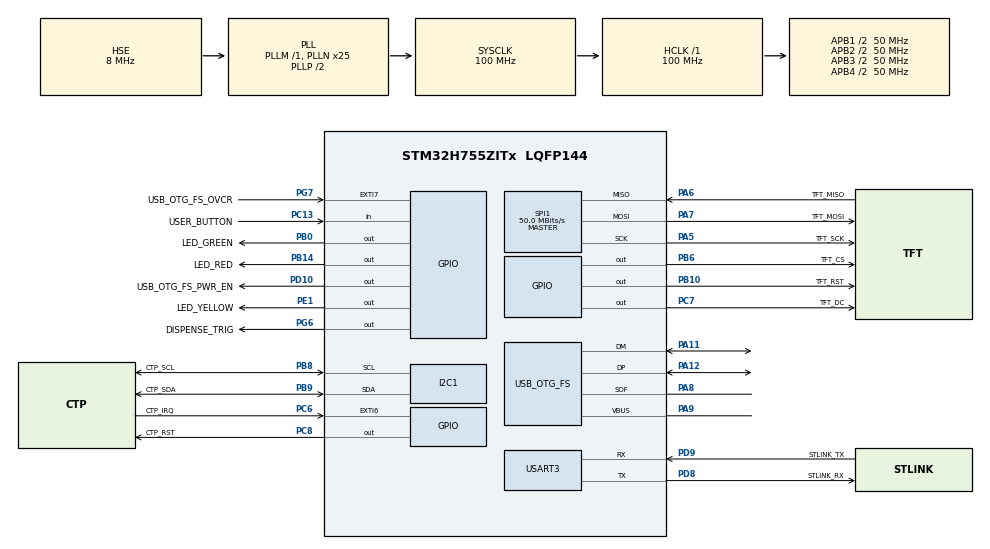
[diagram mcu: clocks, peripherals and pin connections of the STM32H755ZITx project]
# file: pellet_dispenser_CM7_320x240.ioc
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CORTEX_M7.CPU_ICache=Disabled
CortexM4.IPs=FATFS_M4\:I,FREERTOS_M4\:I,IWDG2\:I,RCC,WWDG2\:I,DMA,BDMA,MDMA,NVIC2\:I,ETH,USART3,DEBUG,USB_DEVICE_M4\:I,USB_HOST_M4\:I,PDM2PCM_M4\:I,PWR,RESMGR_UTILITY,SYS_M4\:I,CORTEX_M4\:I,OPENAMP_M4\:I,VREFBUF,GPIO
CortexM7.IPs=FATFS_M7\:I,FREERTOS_M7\:I,IWDG1\:I,RCC\:I,WWDG1\:I,DMA\:I,BDMA\:I,MDMA\:I,NVIC1\:I,ETH\:I,USART3\:I,USB_OTG_FS\:I,SYS\:I,CORTEX_M7\:I,DEBUG\:I,USB_DEVICE_M7\:I,USB_HOST_M7\:I,PDM2PCM_M7\:I,PWR\:I,RESMGR_UTILITY\:I,OPENAMP_M7\:I,VREFBUF\:I,GPIO\:I,SPI1\:I,I2C1\:I,CRC\:I,STMicroelectronics.X-CUBE-TOUCHGFX.4.22.1_M7\:I,TIM2\:I
CortexM7.Pins=PC13,PB0,PB10,PB14,PD10,PG6,PG7,PC6,PC7,PC8,PB6,PE1
Dma.Request0=SPI1_TX
Dma.SPI1_TX.0.Direction=DMA_MEMORY_TO_PERIPH
Dma.SPI1_TX.0.EventEnable=DISABLE
Dma.SPI1_TX.0.FIFOMode=DMA_FIFOMODE_ENABLE
Dma.SPI1_TX.0.FIFOThreshold=DMA_FIFO_THRESHOLD_FULL
Dma.SPI1_TX.0.Instance=DMA1_Stream0
Dma.SPI1_TX.0.MemBurst=DMA_MBURST_SINGLE
Dma.SPI1_TX.0.MemDataAlignment=DMA_MDATAALIGN_HALFWORD
Dma.SPI1_TX.0.MemInc=DMA_MINC_ENABLE
Dma.SPI1_TX.0.Mode=DMA_NORMAL
Dma.SPI1_TX.0.PeriphBurst=DMA_PBURST_SINGLE
Dma.SPI1_TX.0.PeriphDataAlignment=DMA_PDATAALIGN_HALFWORD
Dma.SPI1_TX.0.PeriphInc=DMA_PINC_DISABLE
Dma.SPI1_TX.0.Polarity=HAL_DMAMUX_REQ_GEN_RISING
Dma.SPI1_TX.0.Priority=DMA_PRIORITY_VERY_HIGH
Dma.SPI1_TX.0.RequestNumber=1
Dma.SPI1_TX.0.SignalID=NONE
Dma.SPI1_TX.0.SyncEnable=DISABLE
Dma.SPI1_TX.0.SyncPolarity=HAL_DMAMUX_SYNC_NO_EVENT
Dma.SPI1_TX.0.SyncRequestNumber=1
Dma.SPI1_TX.0.SyncSignalID=NONE
I2C1.Timing=0x00C0EAFF
Mcu.Family=STM32H7
Mcu.Name=STM32H755ZITx
Mcu.Package=LQFP144
NVIC1.DMA1_Stream0_IRQn=true\:2\:0\:true\:false\:true\:false\:true\:true
NVIC1.EXTI9_5_IRQn=true\:15\:0\:true\:false\:true\:true\:true\:true
NVIC1.PriorityGroup=NVIC_PRIORITYGROUP_4
NVIC1.SPI1_IRQn=true\:1\:0\:true\:false\:true\:false\:true\:true
NVIC1.TIM2_IRQn=true\:3\:0\:true\:false\:true\:true\:true\:true
NVIC2.PriorityGroup=NVIC_PRIORITYGROUP_4
PA11.Mode=Device_Only
PA11.PinAttribute=CortexM7
PA11.Signal=USB_OTG_FS_DM
PA12.Mode=Device_Only
PA12.PinAttribute=CortexM7
PA12.Signal=USB_OTG_FS_DP
PA13\ (JTMS/SWDIO).Mode=JTAG_5_pins
PA13\ (JTMS/SWDIO).PinAttribute=CortexM7
PA13\ (JTMS/SWDIO).Signal=DEBUG_JTMS-SWDIO
PA14\ (JTCK/SWCLK).Mode=JTAG_5_pins
PA14\ (JTCK/SWCLK).PinAttribute=CortexM7
PA14\ (JTCK/SWCLK).Signal=DEBUG_JTCK-SWCLK
PA15\ (JTDI).Mode=JTAG_5_pins
PA15\ (JTDI).PinAttribute=CortexM7
PA15\ (JTDI).Signal=DEBUG_JTDI
PA5.GPIO_Label=TFT_SCK
PA5.GPIO_PuPd=GPIO_PULLDOWN
PA5.GPIO_Speed=GPIO_SPEED_FREQ_VERY_HIGH
PA5.Mode=Full_Duplex_Master
PA5.PinAttribute=CortexM7
PA5.Signal=SPI1_SCK
PA6.GPIO_Label=TFT_MISO
PA6.GPIO_Speed=GPIO_SPEED_FREQ_VERY_HIGH
PA6.Mode=Full_Duplex_Master
PA6.PinAttribute=CortexM7
PA6.Signal=SPI1_MISO
PA7.GPIO_Label=TFT_MOSI
PA7.GPIO_PuPd=GPIO_PULLDOWN
PA7.GPIO_Speed=GPIO_SPEED_FREQ_VERY_HIGH
PA7.Mode=Full_Duplex_Master
PA7.PinAttribute=CortexM7
PA7.Signal=SPI1_MOSI
PA8.Mode=Activate_SOF_FS
PA8.PinAttribute=CortexM7
PA8.Signal=USB_OTG_FS_SOF
PA9.Mode=Activate_VBUS
PA9.PinAttribute=CortexM7
PA9.Signal=USB_OTG_FS_VBUS
PB0.GPIO_Label=LED_GREEN
PB0.PinAttribute=CortexM7
PB0.Signal=GPIO_Output
PB10.GPIO_Label=TFT_RST
PB10.GPIO_PuPd=GPIO_PULLUP
PB10.PinAttribute=CortexM7
PB10.PinState=GPIO_PIN_SET
PB10.Signal=GPIO_Output
PB14.GPIO_Label=LED_RED
PB14.PinAttribute=CortexM7
PB14.Signal=GPIO_Output
PB3\ (JTDO/TRACESWO).Mode=JTAG_5_pins
PB3\ (JTDO/TRACESWO).PinAttribute=CortexM7
PB3\ (JTDO/TRACESWO).Signal=DEBUG_JTDO-SWO
PB4\ (NJTRST).Mode=JTAG_5_pins
PB4\ (NJTRST).PinAttribute=CortexM7
PB4\ (NJTRST).Signal=DEBUG_JTRST
PB6.GPIO_Label=TFT_CS
PB6.GPIO_PuPd=GPIO_PULLUP
PB6.GPIO_Speed=GPIO_SPEED_FREQ_VERY_HIGH
PB6.PinAttribute=CortexM7
PB6.PinState=GPIO_PIN_SET
PB6.Signal=GPIO_Output
PB8.GPIO_Label=CTP_SCL
PB8.Mode=I2C
PB8.PinAttribute=CortexM7
PB8.Signal=I2C1_SCL
PB9.GPIO_Label=CTP_SDA
PB9.Mode=I2C
PB9.PinAttribute=CortexM7
PB9.Signal=I2C1_SDA
PC13.GPIO_Label=USER_BUTTON
PC13.PinAttribute=CortexM7
PC13.Signal=GPIO_Input
PC14-OSC32_IN\ (OSC32_IN).Mode=LSE-External-Oscillator
PC14-OSC32_IN\ (OSC32_IN).PinAttribute=Free
PC14-OSC32_IN\ (OSC32_IN).Signal=RCC_OSC32_IN
PC15-OSC32_OUT\ (OSC32_OUT).Mode=LSE-External-Oscillator
PC15-OSC32_OUT\ (OSC32_OUT).PinAttribute=Free
PC15-OSC32_OUT\ (OSC32_OUT).Signal=RCC_OSC32_OUT
PC6.GPIO_Label=CTP_IRQ
PC6.GPIO_ModeDefaultEXTI=GPIO_MODE_IT_FALLING
PC6.GPIO_PuPd=GPIO_PULLUP
PC6.PinAttribute=CortexM7
PC6.Signal=GPXTI6
PC7.GPIO_Label=TFT_DC
PC7.GPIO_PuPd=GPIO_PULLUP
PC7.GPIO_Speed=GPIO_SPEED_FREQ_VERY_HIGH
PC7.PinAttribute=CortexM7
PC7.PinState=GPIO_PIN_SET
PC7.Signal=GPIO_Output
PC8.GPIO_Label=CTP_RST
PC8.GPIO_PuPd=GPIO_PULLUP
PC8.PinAttribute=CortexM7
PC8.PinState=GPIO_PIN_SET
PC8.Signal=GPIO_Output
PD10.GPIO_Label=USB_OTG_FS_PWR_EN
PD10.PinAttribute=CortexM7
PD10.Signal=GPIO_Output
PD8.GPIO_Label=STLINK_RX
PD8.Mode=Asynchronous
PD8.PinAttribute=CortexM7
PD8.Signal=USART3_TX
PD9.GPIO_Label=STLINK_TX
PD9.Mode=Asynchronous
PD9.PinAttribute=CortexM7
PD9.Signal=USART3_RX
PE1.GPIO_Label=LED_YELLOW
PE1.PinAttribute=CortexM7
PE1.Signal=GPIO_Output
PG6.GPIO_Label=DISPENSE_TRIG
PG6.GPIO_ModeDefaultOutputPP=GPIO_MODE_OUTPUT_PP
PG6.GPIO_PuPd=GPIO_PULLUP
PG6.PinAttribute=CortexM7
PG6.PinState=GPIO_PIN_SET
PG6.Signal=GPIO_Output
PG7.GPIO_Label=USB_OTG_FS_OVCR
PG7.PinAttribute=CortexM7
PG7.Signal=GPXTI7
PH0-OSC_IN\ (PH0).Mode=HSE-External-Oscillator
PH0-OSC_IN\ (PH0).PinAttribute=Free
PH0-OSC_IN\ (PH0).Signal=RCC_OSC_IN
PH1-OSC_OUT\ (PH1).Mode=HSE-External-Oscillator
PH1-OSC_OUT\ (PH1).PinAttribute=Free
PH1-OSC_OUT\ (PH1).Signal=RCC_OSC_OUT
ProjectManager.HeapSize=M4-0x2000,M7-0x8000
ProjectManager.StackSize=M4-0x4000,M7-0x8000
ProjectManager.TargetToolchain=MDK-ARM V5.32
RCC.ADCFreq_Value=75000000
RCC.APB1Freq_Value=50000000
RCC.APB2Freq_Value=50000000
RCC.APB3Freq_Value=50000000
RCC.APB4Freq_Value=50000000
RCC.CortexFreq_Value=100000000
RCC.D1PPRE=RCC_APB3_DIV2
RCC.D2PPRE1=RCC_APB1_DIV2
RCC.D2PPRE2=RCC_APB2_DIV2
RCC.D3PPRE=RCC_APB4_DIV2
RCC.DIVM1=1
RCC.DIVM2=1
RCC.DIVM3=1
RCC.DIVN1=25
RCC.DIVN2=18
RCC.DIVN3=18
RCC.DIVQ2=3
RCC.DIVQ3=3
RCC.DIVR3=3
RCC.HCLKFreq_Value=100000000
RCC.HSE_VALUE=8000000
RCC.I2C123CLockSelection=RCC_I2C123CLKSOURCE_PLL3
RCC.PLL2FRACN=6144
RCC.PLL3FRACN=6144
RCC.PLLFRACN=0
RCC.SYSCLKFreq_VALUE=100000000
RCC.SYSCLKSource=RCC_SYSCLKSOURCE_PLLCLK
RCC.USART234578CLockSelection=RCC_USART234578CLKSOURCE_PLL2
RCC.USBCLockSelection=RCC_USBCLKSOURCE_PLL3
RCC.USBFreq_Value=50000000
SPI1.BaudRatePrescaler=SPI_BAUDRATEPRESCALER_2
SPI1.CalculateBaudRate=50.0 MBits/s
SPI1.DataSize=SPI_DATASIZE_8BIT
SPI1.Direction=SPI_DIRECTION_2LINES
SPI1.FirstBit=SPI_FIRSTBIT_MSB
SPI1.Mode=SPI_MODE_MASTER
SPI1.NSSPMode=SPI_NSS_PULSE_DISABLE
SPI1.VirtualType=VM_MASTER
STMicroelectronics.X-CUBE-TOUCHGFX.4.22.1_IsPackSelfContextualization=true
STMicroelectronics.X-CUBE-TOUCHGFX.4.22.1_M7.ApplicationCcGraphicsJjApplication=TouchGFXOoGenerator
STMicroelectronics.X-CUBE-TOUCHGFX.4.22.1_M7.tgfx_block_size=12800
STMicroelectronics.X-CUBE-TOUCHGFX.4.22.1_M7.tgfx_buffering_strategy=Partial
STMicroelectronics.X-CUBE-TOUCHGFX.4.22.1_M7.tgfx_custom_height=240
STMicroelectronics.X-CUBE-TOUCHGFX.4.22.1_M7.tgfx_custom_width=320
STMicroelectronics.X-CUBE-TOUCHGFX.4.22.1_M7.tgfx_hardware_accelerator=dma_none
STMicroelectronics.X-CUBE-TOUCHGFX.4.22.1_M7.tgfx_number_of_blocks=4
STMicroelectronics.X-CUBE-TOUCHGFX.4.22.1_M7.tgfx_partialfb_transmit_strategy=Disabled
STMicroelectronics.X-CUBE-TOUCHGFX.4.22.1_M7.tgfx_vector_rendering=Disabled
TIM2.Period=20000-1
TIM2.Prescaler=100-1
USART3.VirtualMode-Asynchronous=VM_ASYNC
USB_OTG_FS.VirtualMode=Device_Only
VP_CRC_VS_CRC.Mode=CRC_Activate
VP_STMicroelectronics.X-CUBE-TOUCHGFX_M7_VS_GraphicsJjApplication_4.22.1.Mode=GraphicsJjApplication
VP_SYS_M4_VS_Systick.Mode=SysTick
VP_TIM2_VS_ClockSourceINT.Mode=Internal
board=NUCLEO-H755ZI-Q

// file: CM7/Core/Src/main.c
/* USER CODE BEGIN Header */
/**
 ******************************************************************************
 * @file           : main.c
 * @brief          : Main program body
 ******************************************************************************
 * @attention
 *
 * Copyright (c) 2024 STMicroelectronics.
 * All rights reserved.
 *
 * This software is licensed under terms that can be found in the LICENSE file
 * in the root directory of this software component.
 * If no LICENSE file comes with this software, it is provided AS-IS.
 *
 ******************************************************************************
 */
/* USER CODE END Header */
#include "main.h"
#include "app_touchgfx.h"

/* USER CODE BEGIN Includes */

#include "st7789.h"
#include "cst328.h"

/* USER CODE END Includes */

/* USER CODE BEGIN PD */

#ifndef HSEM_ID_0
#define HSEM_ID_0 (0U) /* HW semaphore 0*/
#endif

/* USER CODE END PD */

CRC_HandleTypeDef hcrc;

I2C_HandleTypeDef hi2c1;

SPI_HandleTypeDef hspi1;
DMA_HandleTypeDef hdma_spi1_tx;

TIM_HandleTypeDef htim2;

UART_HandleTypeDef huart3;

PCD_HandleTypeDef hpcd_USB_OTG_FS;

/* USER CODE BEGIN PV */
extern uint8_t isTransmittingData;
static uint32_t dwtPrevCyccnt = 0UL;      /* Store the previous cycle count */
static uint32_t dwtElapsedUsOffset = 0UL; /* Store the elapsed time offset */
/* USER CODE END PV */

void SystemClock_Config(void);
void PeriphCommonClock_Config(void);
static void MX_GPIO_Init(void);
static void MX_DMA_Init(void);
static void MX_USART3_UART_Init(void);
static void MX_USB_OTG_FS_PCD_Init(void);
static void MX_SPI1_Init(void);
static void MX_CRC_Init(void);
static void MX_I2C1_Init(void);
static void MX_TIM2_Init(void);
/* USER CODE BEGIN PFP */
extern void touchgfxSignalVSync(void);
/* USER CODE END PFP */

int main(void)
{
  /* USER CODE BEGIN Boot_Mode_Sequence_0 */
  int32_t timeout;
  /* USER CODE END Boot_Mode_Sequence_0 */

  /* USER CODE BEGIN Boot_Mode_Sequence_1 */
  /* Wait until CPU2 boots and enters in stop mode or timeout*/
  timeout = 0xFFFF;
  while ((__HAL_RCC_GET_FLAG(RCC_FLAG_D2CKRDY) != RESET) && (timeout-- > 0))
    ;
  if (timeout < 0)
  {
    Error_Handler();
  }
  /* USER CODE END Boot_Mode_Sequence_1 */
  /* MCU Configuration--------------------------------------------------------*/

  /* Reset of all peripherals, Initializes the Flash interface and the Systick. */
  HAL_Init();

  /* Configure the system clock */
  SystemClock_Config();

  /* Configure the peripherals common clocks */
  PeriphCommonClock_Config();
  /* USER CODE BEGIN Boot_Mode_Sequence_2 */
  /* When system initialization is finished, Cortex-M7 will release Cortex-M4 by means of
  HSEM notification */
  /*HW semaphore Clock enable*/
  __HAL_RCC_HSEM_CLK_ENABLE();
  /*Take HSEM */
  HAL_HSEM_FastTake(HSEM_ID_0);
  /*Release HSEM in order to notify the CPU2(CM4)*/
  HAL_HSEM_Release(HSEM_ID_0, 0);
  /* wait until CPU2 wakes up from stop mode */
  timeout = 0xFFFF;
  while ((__HAL_RCC_GET_FLAG(RCC_FLAG_D2CKRDY) == RESET) && (timeout-- > 0))
    ;
  if (timeout < 0)
  {
    Error_Handler();
  }
  /* USER CODE END Boot_Mode_Sequence_2 */

  /* Initialize all configured peripherals */
  MX_GPIO_Init();
  MX_DMA_Init();
  MX_USART3_UART_Init();
  MX_USB_OTG_FS_PCD_Init();
  MX_SPI1_Init();
  MX_CRC_Init();
  MX_I2C1_Init();
  MX_TIM2_Init();
  MX_TouchGFX_Init();
  /* USER CODE BEGIN 2 */
  HAL_TIM_Base_Start_IT(&htim2); /* Start TIM2 */

  DWT_Init();
  ST7789_Init();
  CST328_Init();

  /* USER CODE END 2 */

  /* Infinite loop */
  while (1)
  {

    MX_TouchGFX_Process();
  }
}

void SystemClock_Config(void)
{
  RCC_OscInitTypeDef RCC_OscInitStruct = {0};
  RCC_ClkInitTypeDef RCC_ClkInitStruct = {0};

  /** Supply configuration update enable
   */
  HAL_PWREx_ConfigSupply(PWR_DIRECT_SMPS_SUPPLY);

  /** Configure the main internal regulator output voltage
   */
  __HAL_PWR_VOLTAGESCALING_CONFIG(PWR_REGULATOR_VOLTAGE_SCALE3);

  while (!__HAL_PWR_GET_FLAG(PWR_FLAG_VOSRDY))
  {
  }

  /** Initializes the RCC Oscillators according to the specified parameters
   * in the RCC_OscInitTypeDef structure.
   */
  RCC_OscInitStruct.OscillatorType = RCC_OSCILLATORTYPE_HSE;
  RCC_OscInitStruct.HSEState = RCC_HSE_ON;
  RCC_OscInitStruct.PLL.PLLState = RCC_PLL_ON;
  RCC_OscInitStruct.PLL.PLLSource = RCC_PLLSOURCE_HSE;
  RCC_OscInitStruct.PLL.PLLM = 1;
  RCC_OscInitStruct.PLL.PLLN = 25;
  RCC_OscInitStruct.PLL.PLLP = 2;
  RCC_OscInitStruct.PLL.PLLQ = 2;
  RCC_OscInitStruct.PLL.PLLR = 2;
  RCC_OscInitStruct.PLL.PLLRGE = RCC_PLL1VCIRANGE_3;
  RCC_OscInitStruct.PLL.PLLVCOSEL = RCC_PLL1VCOWIDE;
  RCC_OscInitStruct.PLL.PLLFRACN = 0;
  if (HAL_RCC_OscConfig(&RCC_OscInitStruct) != HAL_OK)
  {
    Error_Handler();
  }

  /** Initializes the CPU, AHB and APB buses clocks
   */
  RCC_ClkInitStruct.ClockType = RCC_CLOCKTYPE_HCLK | RCC_CLOCKTYPE_SYSCLK | RCC_CLOCKTYPE_PCLK1 | RCC_CLOCKTYPE_PCLK2 | RCC_CLOCKTYPE_D3PCLK1 | RCC_CLOCKTYPE_D1PCLK1;
  RCC_ClkInitStruct.SYSCLKSource = RCC_SYSCLKSOURCE_PLLCLK;
  RCC_ClkInitStruct.SYSCLKDivider = RCC_SYSCLK_DIV1;
  RCC_ClkInitStruct.AHBCLKDivider = RCC_HCLK_DIV1;
  RCC_ClkInitStruct.APB3CLKDivider = RCC_APB3_DIV2;
  RCC_ClkInitStruct.APB1CLKDivider = RCC_APB1_DIV2;
  RCC_ClkInitStruct.APB2CLKDivider = RCC_APB2_DIV2;
  RCC_ClkInitStruct.APB4CLKDivider = RCC_APB4_DIV2;

  if (HAL_RCC_ClockConfig(&RCC_ClkInitStruct, FLASH_LATENCY_2) != HAL_OK)
  {
    Error_Handler();
  }
}

void PeriphCommonClock_Config(void)
{
  RCC_PeriphCLKInitTypeDef PeriphClkInitStruct = {0};

  /** Initializes the peripherals clock
   */
  PeriphClkInitStruct.PeriphClockSelection = RCC_PERIPHCLK_USB | RCC_PERIPHCLK_I2C1;
  PeriphClkInitStruct.PLL3.PLL3M = 1;
  PeriphClkInitStruct.PLL3.PLL3N = 18;
  PeriphClkInitStruct.PLL3.PLL3P = 2;
  PeriphClkInitStruct.PLL3.PLL3Q = 3;
  PeriphClkInitStruct.PLL3.PLL3R = 3;
  PeriphClkInitStruct.PLL3.PLL3RGE = RCC_PLL3VCIRANGE_3;
  PeriphClkInitStruct.PLL3.PLL3VCOSEL = RCC_PLL3VCOMEDIUM;
  PeriphClkInitStruct.PLL3.PLL3FRACN = 6144;
  PeriphClkInitStruct.I2c123ClockSelection = RCC_I2C123CLKSOURCE_PLL3;
  PeriphClkInitStruct.UsbClockSelection = RCC_USBCLKSOURCE_PLL3;
  if (HAL_RCCEx_PeriphCLKConfig(&PeriphClkInitStruct) != HAL_OK)
  {
    Error_Handler();
  }
}

static void MX_CRC_Init(void)
{

  hcrc.Instance = CRC;
  hcrc.Init.DefaultPolynomialUse = DEFAULT_POLYNOMIAL_ENABLE;
  hcrc.Init.DefaultInitValueUse = DEFAULT_INIT_VALUE_ENABLE;
  hcrc.Init.InputDataInversionMode = CRC_INPUTDATA_INVERSION_NONE;
  hcrc.Init.OutputDataInversionMode = CRC_OUTPUTDATA_INVERSION_DISABLE;
  hcrc.InputDataFormat = CRC_INPUTDATA_FORMAT_BYTES;
  if (HAL_CRC_Init(&hcrc) != HAL_OK)
  {
    Error_Handler();
  }
}

static void MX_I2C1_Init(void)
{

  hi2c1.Instance = I2C1;
  hi2c1.Init.Timing = 0x00C0EAFF;
  hi2c1.Init.OwnAddress1 = 0;
  hi2c1.Init.AddressingMode = I2C_ADDRESSINGMODE_7BIT;
  hi2c1.Init.DualAddressMode = I2C_DUALADDRESS_DISABLE;
  hi2c1.Init.OwnAddress2 = 0;
  hi2c1.Init.OwnAddress2Masks = I2C_OA2_NOMASK;
  hi2c1.Init.GeneralCallMode = I2C_GENERALCALL_DISABLE;
  hi2c1.Init.NoStretchMode = I2C_NOSTRETCH_DISABLE;
  if (HAL_I2C_Init(&hi2c1) != HAL_OK)
  {
    Error_Handler();
  }

  /** Configure Analogue filter
   */
  if (HAL_I2CEx_ConfigAnalogFilter(&hi2c1, I2C_ANALOGFILTER_ENABLE) != HAL_OK)
  {
    Error_Handler();
  }

  /** Configure Digital filter
   */
  if (HAL_I2CEx_ConfigDigitalFilter(&hi2c1, 0) != HAL_OK)
  {
    Error_Handler();
  }
}

static void MX_SPI1_Init(void)
{

  /* SPI1 parameter configuration*/
  hspi1.Instance = SPI1;
  hspi1.Init.Mode = SPI_MODE_MASTER;
  hspi1.Init.Direction = SPI_DIRECTION_2LINES;
  hspi1.Init.DataSize = SPI_DATASIZE_8BIT;
  hspi1.Init.CLKPolarity = SPI_POLARITY_LOW;
  hspi1.Init.CLKPhase = SPI_PHASE_1EDGE;
  hspi1.Init.NSS = SPI_NSS_SOFT;
  hspi1.Init.BaudRatePrescaler = SPI_BAUDRATEPRESCALER_2;
  hspi1.Init.FirstBit = SPI_FIRSTBIT_MSB;
  hspi1.Init.TIMode = SPI_TIMODE_DISABLE;
  hspi1.Init.CRCCalculation = SPI_CRCCALCULATION_DISABLE;
  hspi1.Init.CRCPolynomial = 0x0;
  hspi1.Init.NSSPMode = SPI_NSS_PULSE_DISABLE;
  hspi1.Init.NSSPolarity = SPI_NSS_POLARITY_LOW;
  hspi1.Init.FifoThreshold = SPI_FIFO_THRESHOLD_01DATA;
  hspi1.Init.TxCRCInitializationPattern = SPI_CRC_INITIALIZATION_ALL_ZERO_PATTERN;
  hspi1.Init.RxCRCInitializationPattern = SPI_CRC_INITIALIZATION_ALL_ZERO_PATTERN;
  hspi1.Init.MasterSSIdleness = SPI_MASTER_SS_IDLENESS_00CYCLE;
  hspi1.Init.MasterInterDataIdleness = SPI_MASTER_INTERDATA_IDLENESS_00CYCLE;
  hspi1.Init.MasterReceiverAutoSusp = SPI_MASTER_RX_AUTOSUSP_DISABLE;
  hspi1.Init.MasterKeepIOState = SPI_MASTER_KEEP_IO_STATE_DISABLE;
  hspi1.Init.IOSwap = SPI_IO_SWAP_DISABLE;
  if (HAL_SPI_Init(&hspi1) != HAL_OK)
  {
    Error_Handler();
  }
}

static void MX_TIM2_Init(void)
{

  TIM_ClockConfigTypeDef sClockSourceConfig = {0};
  TIM_MasterConfigTypeDef sMasterConfig = {0};

  htim2.Instance = TIM2;
  htim2.Init.Prescaler = 100 - 1;
  htim2.Init.CounterMode = TIM_COUNTERMODE_UP;
  htim2.Init.Period = 20000 - 1;
  htim2.Init.ClockDivision = TIM_CLOCKDIVISION_DIV1;
  htim2.Init.AutoReloadPreload = TIM_AUTORELOAD_PRELOAD_DISABLE;
  if (HAL_TIM_Base_Init(&htim2) != HAL_OK)
  {
    Error_Handler();
  }
  sClockSourceConfig.ClockSource = TIM_CLOCKSOURCE_INTERNAL;
  if (HAL_TIM_ConfigClockSource(&htim2, &sClockSourceConfig) != HAL_OK)
  {
    Error_Handler();
  }
  sMasterConfig.MasterOutputTrigger = TIM_TRGO_RESET;
  sMasterConfig.MasterSlaveMode = TIM_MASTERSLAVEMODE_DISABLE;
  if (HAL_TIMEx_MasterConfigSynchronization(&htim2, &sMasterConfig) != HAL_OK)
  {
    Error_Handler();
  }
}

static void MX_USART3_UART_Init(void)
{

  huart3.Instance = USART3;
  huart3.Init.BaudRate = 115200;
  huart3.Init.WordLength = UART_WORDLENGTH_8B;
  huart3.Init.StopBits = UART_STOPBITS_1;
  huart3.Init.Parity = UART_PARITY_NONE;
  huart3.Init.Mode = UART_MODE_TX_RX;
  huart3.Init.HwFlowCtl = UART_HWCONTROL_NONE;
  huart3.Init.OverSampling = UART_OVERSAMPLING_16;
  huart3.Init.OneBitSampling = UART_ONE_BIT_SAMPLE_DISABLE;
  huart3.Init.ClockPrescaler = UART_PRESCALER_DIV1;
  huart3.AdvancedInit.AdvFeatureInit = UART_ADVFEATURE_NO_INIT;
  if (HAL_UART_Init(&huart3) != HAL_OK)
  {
    Error_Handler();
  }
  if (HAL_UARTEx_SetTxFifoThreshold(&huart3, UART_TXFIFO_THRESHOLD_1_8) != HAL_OK)
  {
    Error_Handler();
  }
  if (HAL_UARTEx_SetRxFifoThreshold(&huart3, UART_RXFIFO_THRESHOLD_1_8) != HAL_OK)
  {
    Error_Handler();
  }
  if (HAL_UARTEx_DisableFifoMode(&huart3) != HAL_OK)
  {
    Error_Handler();
  }
}

static void MX_USB_OTG_FS_PCD_Init(void)
{

  hpcd_USB_OTG_FS.Instance = USB_OTG_FS;
  hpcd_USB_OTG_FS.Init.dev_endpoints = 9;
  hpcd_USB_OTG_FS.Init.speed = PCD_SPEED_FULL;
  hpcd_USB_OTG_FS.Init.dma_enable = DISABLE;
  hpcd_USB_OTG_FS.Init.phy_itface = PCD_PHY_EMBEDDED;
  hpcd_USB_OTG_FS.Init.Sof_enable = DISABLE;
  hpcd_USB_OTG_FS.Init.low_power_enable = DISABLE;
  hpcd_USB_OTG_FS.Init.lpm_enable = DISABLE;
  hpcd_USB_OTG_FS.Init.battery_charging_enable = ENABLE;
  hpcd_USB_OTG_FS.Init.vbus_sensing_enable = ENABLE;
  hpcd_USB_OTG_FS.Init.use_dedicated_ep1 = DISABLE;
  if (HAL_PCD_Init(&hpcd_USB_OTG_FS) != HAL_OK)
  {
    Error_Handler();
  }
}

static void MX_DMA_Init(void)
{

  /* DMA controller clock enable */
  __HAL_RCC_DMA1_CLK_ENABLE();

  /* DMA interrupt init */
  /* DMA1_Stream0_IRQn interrupt configuration */
  HAL_NVIC_SetPriority(DMA1_Stream0_IRQn, 2, 0);
  HAL_NVIC_EnableIRQ(DMA1_Stream0_IRQn);
}

static void MX_GPIO_Init(void)
{
  GPIO_InitTypeDef GPIO_InitStruct = {0};

  /* GPIO Ports Clock Enable */
  __HAL_RCC_GPIOC_CLK_ENABLE();
  __HAL_RCC_GPIOA_CLK_ENABLE();
  __HAL_RCC_GPIOB_CLK_ENABLE();
  __HAL_RCC_GPIOD_CLK_ENABLE();
  __HAL_RCC_GPIOG_CLK_ENABLE();
  __HAL_RCC_GPIOE_CLK_ENABLE();

  /*Configure GPIO pin Output Level */
  HAL_GPIO_WritePin(GPIOB, LED_GREEN_Pin | LED_RED_Pin, GPIO_PIN_RESET);

  /*Configure GPIO pin Output Level */
  HAL_GPIO_WritePin(GPIOB, TFT_RST_Pin | TFT_CS_Pin, GPIO_PIN_SET);

  /*Configure GPIO pin Output Level */
  HAL_GPIO_WritePin(USB_OTG_FS_PWR_EN_GPIO_Port, USB_OTG_FS_PWR_EN_Pin, GPIO_PIN_RESET);

  /*Configure GPIO pin Output Level */
  HAL_GPIO_WritePin(DISPENSE_TRIG_GPIO_Port, DISPENSE_TRIG_Pin, GPIO_PIN_SET);

  /*Configure GPIO pin Output Level */
  HAL_GPIO_WritePin(GPIOC, TFT_DC_Pin | CTP_RST_Pin, GPIO_PIN_SET);

  /*Configure GPIO pin Output Level */
  HAL_GPIO_WritePin(LED_YELLOW_GPIO_Port, LED_YELLOW_Pin, GPIO_PIN_RESET);

  /*Configure GPIO pin : USER_BUTTON_Pin */
  GPIO_InitStruct.Pin = USER_BUTTON_Pin;
  GPIO_InitStruct.Mode = GPIO_MODE_INPUT;
  GPIO_InitStruct.Pull = GPIO_NOPULL;
  HAL_GPIO_Init(USER_BUTTON_GPIO_Port, &GPIO_InitStruct);

  /*Configure GPIO pins : LED_GREEN_Pin LED_RED_Pin */
  GPIO_InitStruct.Pin = LED_GREEN_Pin | LED_RED_Pin;
  GPIO_InitStruct.Mode = GPIO_MODE_OUTPUT_PP;
  GPIO_InitStruct.Pull = GPIO_NOPULL;
  GPIO_InitStruct.Speed = GPIO_SPEED_FREQ_LOW;
  HAL_GPIO_Init(GPIOB, &GPIO_InitStruct);

  /*Configure GPIO pin : TFT_RST_Pin */
  GPIO_InitStruct.Pin = TFT_RST_Pin;
  GPIO_InitStruct.Mode = GPIO_MODE_OUTPUT_PP;
  GPIO_InitStruct.Pull = GPIO_PULLUP;
  GPIO_InitStruct.Speed = GPIO_SPEED_FREQ_LOW;
  HAL_GPIO_Init(TFT_RST_GPIO_Port, &GPIO_InitStruct);

  /*Configure GPIO pin : USB_OTG_FS_PWR_EN_Pin */
  GPIO_InitStruct.Pin = USB_OTG_FS_PWR_EN_Pin;
  GPIO_InitStruct.Mode = GPIO_MODE_OUTPUT_PP;
  GPIO_InitStruct.Pull = GPIO_NOPULL;
  GPIO_InitStruct.Speed = GPIO_SPEED_FREQ_LOW;
  HAL_GPIO_Init(USB_OTG_FS_PWR_EN_GPIO_Port, &GPIO_InitStruct);

  /*Configure GPIO pin : DISPENSE_TRIG_Pin */
  GPIO_InitStruct.Pin = DISPENSE_TRIG_Pin;
  GPIO_InitStruct.Mode = GPIO_MODE_OUTPUT_PP;
  GPIO_InitStruct.Pull = GPIO_PULLUP;
  GPIO_InitStruct.Speed = GPIO_SPEED_FREQ_LOW;
  HAL_GPIO_Init(DISPENSE_TRIG_GPIO_Port, &GPIO_InitStruct);

  /*Configure GPIO pin : USB_OTG_FS_OVCR_Pin */
  GPIO_InitStruct.Pin = USB_OTG_FS_OVCR_Pin;
  GPIO_InitStruct.Mode = GPIO_MODE_IT_RISING;
  GPIO_InitStruct.Pull = GPIO_NOPULL;
  HAL_GPIO_Init(USB_OTG_FS_OVCR_GPIO_Port, &GPIO_InitStruct);

  /*Configure GPIO pin : CTP_IRQ_Pin */
  GPIO_InitStruct.Pin = CTP_IRQ_Pin;
  GPIO_InitStruct.Mode = GPIO_MODE_IT_FALLING;
  GPIO_InitStruct.Pull = GPIO_PULLUP;
  HAL_GPIO_Init(CTP_IRQ_GPIO_Port, &GPIO_InitStruct);

  /*Configure GPIO pin : TFT_DC_Pin */
  GPIO_InitStruct.Pin = TFT_DC_Pin;
  GPIO_InitStruct.Mode = GPIO_MODE_OUTPUT_PP;
  GPIO_InitStruct.Pull = GPIO_PULLUP;
  GPIO_InitStruct.Speed = GPIO_SPEED_FREQ_VERY_HIGH;
  HAL_GPIO_Init(TFT_DC_GPIO_Port, &GPIO_InitStruct);

  /*Configure GPIO pin : CTP_RST_Pin */
  GPIO_InitStruct.Pin = CTP_RST_Pin;
  GPIO_InitStruct.Mode = GPIO_MODE_OUTPUT_PP;
  GPIO_InitStruct.Pull = GPIO_PULLUP;
  GPIO_InitStruct.Speed = GPIO_SPEED_FREQ_LOW;
  HAL_GPIO_Init(CTP_RST_GPIO_Port, &GPIO_InitStruct);

  /*Configure GPIO pin : TFT_CS_Pin */
  GPIO_InitStruct.Pin = TFT_CS_Pin;
  GPIO_InitStruct.Mode = GPIO_MODE_OUTPUT_PP;
  GPIO_InitStruct.Pull = GPIO_PULLUP;
  GPIO_InitStruct.Speed = GPIO_SPEED_FREQ_VERY_HIGH;
  HAL_GPIO_Init(TFT_CS_GPIO_Port, &GPIO_InitStruct);

  /*Configure GPIO pin : LED_YELLOW_Pin */
  GPIO_InitStruct.Pin = LED_YELLOW_Pin;
  GPIO_InitStruct.Mode = GPIO_MODE_OUTPUT_PP;
  GPIO_InitStruct.Pull = GPIO_NOPULL;
  GPIO_InitStruct.Speed = GPIO_SPEED_FREQ_LOW;
  HAL_GPIO_Init(LED_YELLOW_GPIO_Port, &GPIO_InitStruct);

  /* EXTI interrupt init*/
  HAL_NVIC_SetPriority(EXTI9_5_IRQn, 15, 0);
  HAL_NVIC_EnableIRQ(EXTI9_5_IRQn);

}

/* USER CODE BEGIN 4 */

/**
 * @brief Period elapsed callback for the HAL TIM module
 * @param htim: Pointer to a TIM_HandleTypeDef structure that contains the configuration information for the TIM module
 * @retval None
 */
void HAL_TIM_PeriodElapsedCallback(TIM_HandleTypeDef *htim)
{
  /* USER CODE BEGIN Callback 0 */
  if (htim->Instance == TIM2)
  {
    if (isTransmittingData)
    {
      HAL_GPIO_WritePin(LED_GREEN_GPIO_Port, LED_GREEN_Pin, GPIO_PIN_SET); /* If currently transmitting data, set the LED pin */
    }
    else
    {
      HAL_GPIO_WritePin(LED_GREEN_GPIO_Port, LED_GREEN_Pin, GPIO_PIN_RESET); /* Otherwise, reset the LED pin */
    }
    touchgfxSignalVSync(); /* Signal TouchGFX that a VSync event occurred */
  }
  /* USER CODE END Callback 0 */
}

void HAL_GPIO_EXTI_Callback(uint16_t GPIO_Pin)
{
  if (GPIO_Pin == CTP_IRQ_Pin)
  {
    CST328_ProcessCallback();
  }
}

void set_dispense_trigger(void)
{
  HAL_GPIO_WritePin(DISPENSE_TRIG_GPIO_Port, DISPENSE_TRIG_Pin, GPIO_PIN_SET);
}

void reset_dispense_trigger(void)
{
  HAL_GPIO_WritePin(DISPENSE_TRIG_GPIO_Port, DISPENSE_TRIG_Pin, GPIO_PIN_RESET);
}

void DWT_Init(void)
{
  CoreDebug->DEMCR |= CoreDebug_DEMCR_TRCENA_Msk; /* Enable Trace */
  DWT->LAR = 0xC5ACCE55;                          /* Unlock Lock Access Register */
  DWT->CYCCNT = 0;                                /* Reset the cycle counter */
  DWT->CTRL |= 1;                                 /* Enable the cycle counter */
  dwtPrevCyccnt = 0UL;                            /* Initialize previous cycle count */
  dwtElapsedUsOffset = 0UL;                       /* Initialize elapsed time offset */
}

void DWT_ResetCyccnt(void)
{
  DWT->CYCCNT = 0;          /* Reset the cycle counter */
  dwtPrevCyccnt = 0UL;      /* Reset previous cycle count */
  dwtElapsedUsOffset = 0UL; /* Reset elapsed time offset */
}

uint32_t DWT_GetElapsedUs(void)
{
  uint32_t currCyccnt = DWT->CYCCNT;
  uint32_t elapsedCycles;

  elapsedCycles = currCyccnt - dwtPrevCyccnt; /* No wrap-around, calculate elapsed cycles normally */

  dwtElapsedUsOffset += (elapsedCycles / (HAL_RCC_GetHCLKFreq() / 1000000UL)); /* Update elapsed time offset */

  dwtPrevCyccnt = currCyccnt; /* Update previous cycle count */

  return dwtElapsedUsOffset;
}

uint32_t DWT_GetElapsedMs(void)
{
  return (DWT_GetElapsedUs() / 1000U);
}

/* USER CODE END 4 */

void Error_Handler(void)
{
  __disable_irq();
  while (1)
  {
  }
}
